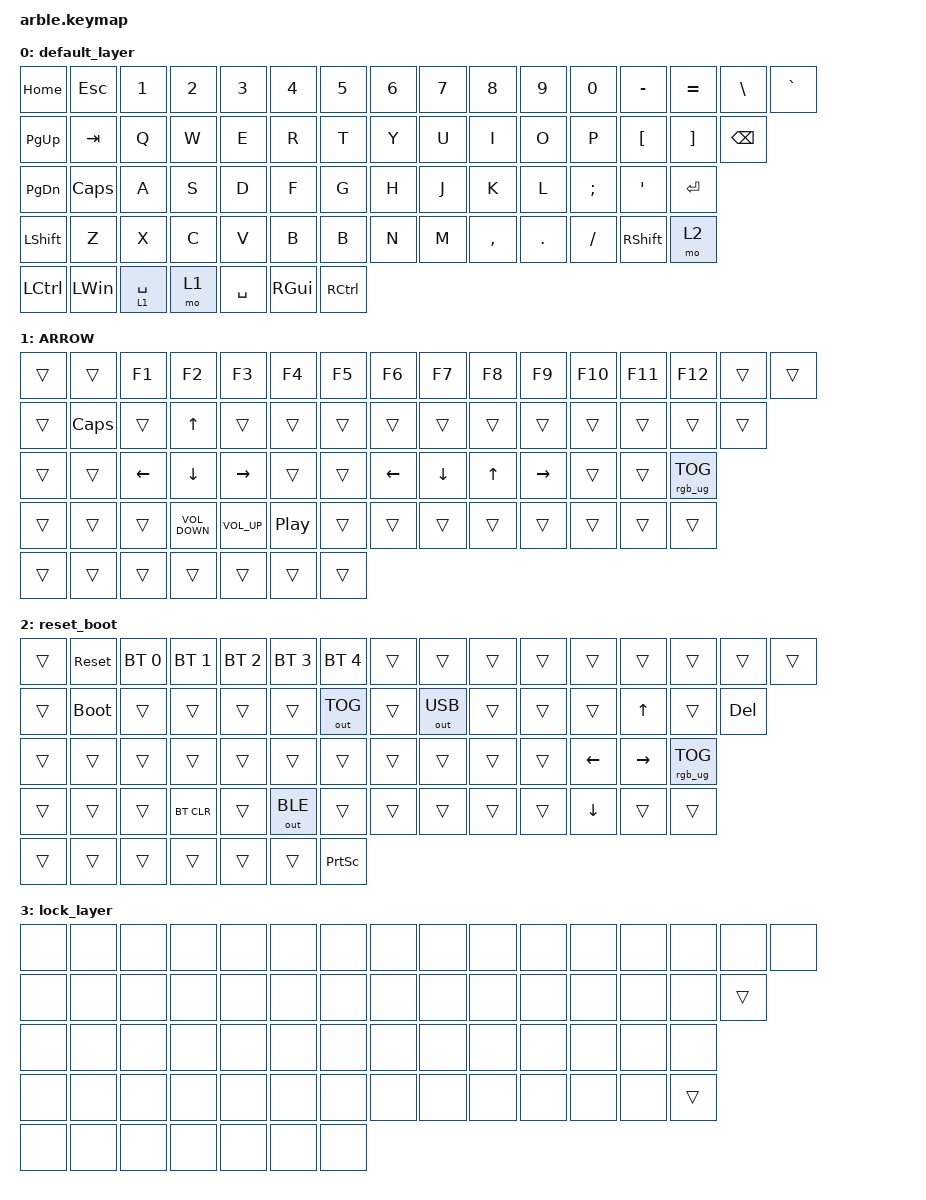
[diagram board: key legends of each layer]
/*
 * Copyright (c) 2021 Nick Winans
 *
 * SPDX-License-Identifier: MIT
 */

#include <behaviors.dtsi>
#include <dt-bindings/zmk/bt.h>
#include <dt-bindings/zmk/keys.h>
#include <dt-bindings/zmk/outputs.h>
#include <dt-bindings/zmk/rgb.h>

/ {
    keymap {
        compatible = "zmk,keymap";

        default_layer {
            bindings = <
&kp HOME          &kp ESC   &kp N1       &kp NUMBER_2  &kp NUMBER_3  &kp NUMBER_4   &kp N5     &kp NUMBER_6  &kp N7  &kp N8     &kp N9   &kp NUMBER_0  &kp MINUS  &kp EQUAL  &kp BSLH  &kp GRAVE
&kp PAGE_UP       &kp TAB   &kp Q        &kp W         &kp E         &kp R          &kp T      &kp Y         &kp U   &kp I      &kp O    &kp P         &kp LBKT   &kp RBKT   &kp BSPC
&kp PG_DN         &kp CAPS  &kp A        &kp S         &kp D         &kp F          &kp G      &kp H         &kp J   &kp K      &kp L    &kp SEMI      &kp SQT    &kp RET
&kp LSHFT         &kp Z     &kp X        &kp C         &kp V         &kp B          &kp B      &kp N         &kp M   &kp COMMA  &kp DOT  &kp FSLH      &kp RSHFT  &mo 2
&kp LEFT_CONTROL  &kp LWIN  &lt 1 SPACE  &mo 1         &kp SPACE     &kp RIGHT_GUI  &kp RCTRL
            >;
        };

        ARROW {
            bindings = <
&trans  &trans    &kp F1    &kp F2             &kp F3           &kp F4            &kp F5  &kp F6    &kp F7    &kp F8  &kp F9     &kp F10  &kp F11  &kp F12          &trans  &trans
&trans  &kp CAPS  &trans    &kp UP             &trans           &trans            &trans  &trans    &trans    &trans  &trans     &trans   &trans   &trans           &trans
&trans  &trans    &kp LEFT  &kp DOWN           &kp RIGHT        &trans            &trans  &kp LEFT  &kp DOWN  &kp UP  &kp RIGHT  &trans   &trans   &rgb_ug RGB_TOG
&trans  &trans    &trans    &kp C_VOLUME_DOWN  &kp C_VOLUME_UP  &kp C_PLAY_PAUSE  &trans  &trans    &trans    &trans  &trans     &trans   &trans   &trans
&trans  &trans    &trans    &trans             &trans           &trans            &trans
            >;
        };

        reset_boot {
            bindings = <
&trans  &sys_reset   &bt BT_SEL 0  &bt BT_SEL 1  &bt BT_SEL 2  &bt BT_SEL 3  &bt BT_SEL 4     &trans  &trans        &trans  &trans  &trans          &trans     &trans           &trans   &trans
&trans  &bootloader  &trans        &trans        &trans        &trans        &out OUT_TOG     &trans  &out OUT_USB  &trans  &trans  &trans          &kp UP     &trans           &kp DEL
&trans  &trans       &trans        &trans        &trans        &trans        &trans           &trans  &trans        &trans  &trans  &kp LEFT_ARROW  &kp RIGHT  &rgb_ug RGB_TOG
&trans  &trans       &trans        &bt BT_CLR    &trans        &out OUT_BLE  &trans           &trans  &trans        &trans  &trans  &kp DOWN        &trans     &trans
&trans  &trans       &trans        &trans        &trans        &trans        &kp PRINTSCREEN
            >;
        };

        lock_layer {
            bindings = <
&none  &none  &none  &none  &none  &none  &none  &none  &none  &none  &none  &none  &none  &none   &none   &none
&none  &none  &none  &none  &none  &none  &none  &none  &none  &none  &none  &none  &none  &none   &trans
&none  &none  &none  &none  &none  &none  &none  &none  &none  &none  &none  &none  &none  &none
&none  &none  &none  &none  &none  &none  &none  &none  &none  &none  &none  &none  &none  &trans
&none  &none  &none  &none  &none  &none  &none
            >;
        };
    };
};
